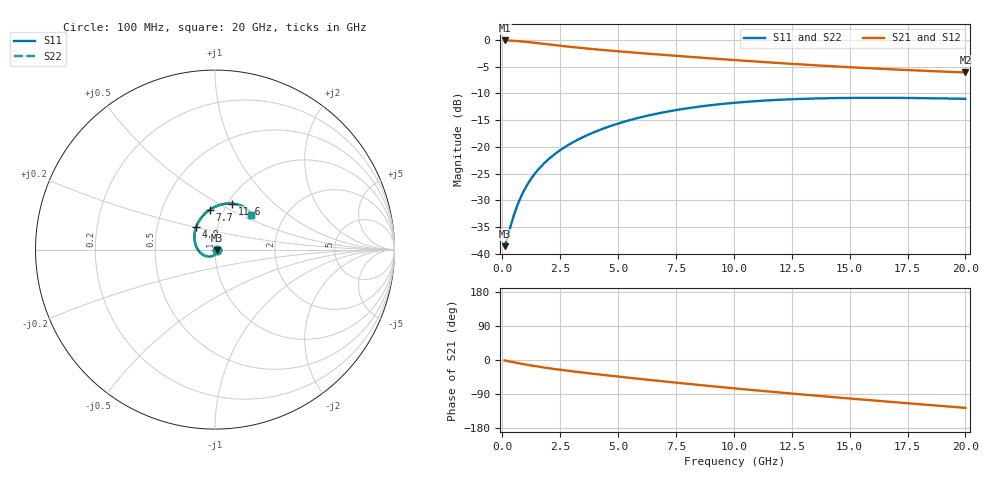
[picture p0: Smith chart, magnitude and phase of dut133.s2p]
! Touchstone file exported from HFSS 2024.1.0
!  File:  C:/UserFiles/LocalFiles/RDL_TSV_Batchsim/temp_RDL_TSV_133_1779427809.aedt
!  Generated:  01:43:55 PM May 22, 2026
!  Design:  RDL_TSV
!  Project:  temp_RDL_TSV_133_1779427809
!  Setup:  Setup1
!  Solution:  Sweep
! Variables:
!  dtsv = 13.04um
!  hbump = 3um
!  htsv = 73.77um
!  ldown = 174.58um
!  lrdl = 211.06um
!  p = 40
!  p1 = 41.67um
!  rhole = 10um
!  subl = 1367.98um
!  t = 450um
!  tdown = 4.64um
!  trdl = 2.5um
!  viad = 10um
!  wdown = 17.74um
!  wrdl = 14.41um
!  xbump = 18um
# GHz S MA R 50.000000
! Terminal data exported
! Port[1] = TM1_1_T1
! Port[2] = TM1_4_T1
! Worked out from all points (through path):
!   200 points, 100 MHz to 20 GHz, reference 50 ohm
!   highest |S21| = -0.10 dB at 100 MHz (marker M1); lowest = -6.1 dB at 20 GHz (marker M2)
!   group delay of S21, straight-line fit = 16.6 ps
!   lowest |S11| = -38.5 dB at 100 MHz (marker M3), VSWR 1.02, Z = 51.1 - j0.477 ohm
!   |S11| at or under -10 dB: start of sweep to end of sweep
!   |S22| runs from -38.5 to -10.8 dB; largest |S21 - S12| = 5.1e-14
!   S11 on the Smith chart (normalised r, x): 100 MHz: 1.02, -0.01; 4.9 GHz: 0.79, +0.20; 7.7 GHz: 0.86, +0.40; 11.6 GHz: 1.05, +0.58; 20 GHz: 1.37, +0.58
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0.1  0.01183 -23.2  0.9884 -1.3  0.9884 -1.3  0.01183 -23.2
! Gamma 0 0 0 0
! Port Impedance 50 0 50 0
0.2  0.0137 -43.0  0.9873 -2.5  0.9873 -2.5  0.0137 -43.0
0.5  0.02299 -81.3  0.9805 -6.1  0.9805 -6.1  0.02299 -81.3
0.7  0.03026 -97.6  0.9737 -8.5  0.9737 -8.5  0.03026 -97.6
1  0.04142 -116.7  0.9607 -11.8  0.9607 -11.8  0.04142 -116.7
1.3  0.05243 -132.3  0.9457 -15.0  0.9457 -15.0  0.05243 -132.3
1.7  0.06662 -149.9  0.9241 -18.9  0.9241 -18.9  0.06662 -149.9
2.2  0.08353 -168.3  0.8973 -23.3  0.8973 -23.3  0.08353 -168.3
2.8  0.1027 173.5  0.8676 -28.1  0.8676 -28.1  0.1027 173.5
3.5  0.1239 156.3  0.837 -33.3  0.837 -33.3  0.124 156.3
4.2  0.144 142.2  0.8102 -38.3  0.8102 -38.3  0.144 142.2
4.9  0.1628 130.4  0.7861 -43.1  0.7861 -43.1  0.1628 130.4
5.8  0.1851 117.7  0.7579 -49.0  0.7579 -49.0  0.1852 117.7
6.8  0.2073 106.0  0.7291 -55.4  0.7291 -55.4  0.2073 106.0
7.7  0.2246 97.1  0.7048 -61.1  0.7048 -61.1  0.2247 97.1
8.9  0.2441 87.0  0.6746 -68.3  0.6746 -68.3  0.2441 87.0
10.1  0.2594 78.5  0.6466 -75.3  0.6466 -75.3  0.2594 78.5
11.6  0.2732 69.7  0.6149 -83.7  0.6149 -83.7  0.2732 69.7
13.4  0.2832 61.2  0.5815 -93.3  0.5815 -93.3  0.2832 61.2
15  0.2873 55.2  0.5558 -101.6  0.5558 -101.6  0.2872 55.2
16.7  0.2877 50.2  0.5325 -110.1  0.5325 -110.1  0.2877 50.2
20  0.2817 44.0  0.4968 -126.3  0.4968 -126.3  0.2816 44.0
